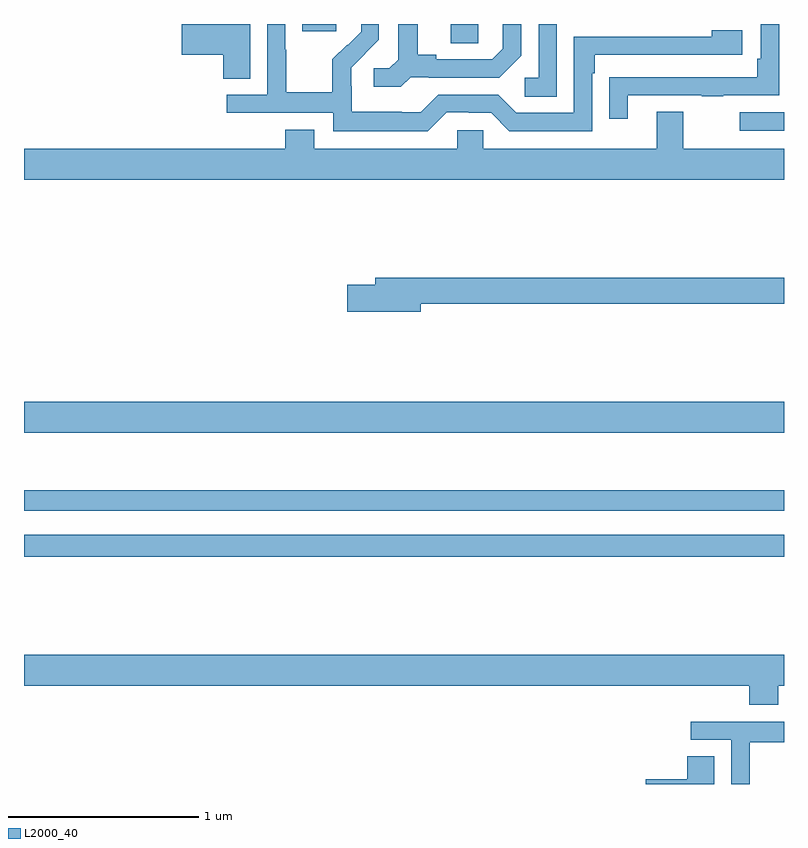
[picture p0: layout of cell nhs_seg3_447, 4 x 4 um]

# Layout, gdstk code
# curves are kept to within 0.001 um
import gdstk
lib = gdstk.Library(unit=1e-6, precision=1e-09)
def R(c, l, rs):  # rectangles x0, y0, x1, y1
    for r in rs: c.add(gdstk.rectangle(r[:2], r[2:], *l))
def P(c, l, *ps):  # polygons
    for p in ps: c.add(gdstk.Polygon(p, *l))
L2000_40 = (2000, 40)

nhs_seg3_447 = lib.new_cell('nhs_seg3_447')
R(nhs_seg3_447, L2000_40, [(133,701.596,137,701.712), (133,701.838,137,701.947), (133,702.248,137,702.412), (136.767,703.839,137,703.935), (135.245,704.299,135.39,704.4), (134.465,704.361,134.644,704.4)])
P(nhs_seg3_447, L2000_40, [(136.177,704.025),(136.567,704.025),(136.567,704.02),(136.679,704.02),(136.679,704.025),(136.974,704.025),(136.974,704.4),(136.878,704.4),(136.878,704.218),(136.858,704.218),(136.858,704.121),(136.183,704.121),(136.183,704.12),(136.081,704.12),(136.081,703.902),(136.177,703.902)],
  [(135.036,704.121),(135.13,704.121),(135.13,704.118),(135.502,704.118),(135.618,704.234),(135.618,704.4),(135.521,704.4),(135.521,704.271),(135.464,704.214),(135.169,704.214),(135.169,704.237),(135.073,704.237),(135.073,704.4),(134.969,704.4),(134.969,704.213),(134.922,704.166),(134.841,704.166),(134.841,704.069),(134.984,704.069)],
  [(134.191,704.4),(133.83,704.4),(133.83,704.237),(134.048,704.237),(134.048,704.113),(134.191,704.113)],
  [(135.225,703.935),(135.341,703.935),(135.341,703.932),(135.459,703.932),(135.555,703.836),(135.99,703.836),(135.99,704.141),(136.003,704.141),(136.003,704.238),(136.78,704.238),(136.78,704.368),(136.619,704.368),(136.619,704.334),(135.894,704.334),(135.894,703.932),(135.591,703.932),(135.495,704.028),(135.18,704.028),(135.087,703.935),(134.987,703.935),(134.987,703.939),(134.724,703.939),(134.724,704.073),(134.722,704.073),(134.722,704.17),(134.868,704.318),(134.868,704.4),(134.774,704.4),(134.774,704.36),(134.703,704.289),(134.7,704.292),(134.623,704.215),(134.623,704.041),(134.379,704.041),(134.379,704.264),(134.376,704.264),(134.376,704.4),(134.28,704.4),(134.28,704.028),(134.067,704.028),(134.067,703.932),(134.628,703.932),(134.628,703.835),(135.125,703.835)],
  [(135.804,704.4),(135.708,704.4),(135.708,704.118),(135.636,704.118),(135.636,704.017),(135.804,704.017)],
  [(137,703.744),(136.471,703.744),(136.471,703.939),(136.331,703.939),(136.331,703.744),(135.417,703.744),(135.417,703.842),(135.279,703.842),(135.279,703.744),(134.527,703.744),(134.527,703.843),(134.375,703.843),(134.375,703.744),(133,703.744),(133,703.58),(137,703.58)],
  [(135.088,702.928),(137,702.928),(137,703.064),(134.849,703.064),(134.849,703.028),(134.7,703.028),(134.7,702.886),(135.088,702.886)],
  [(136.969,700.916),(137,700.916),(137,701.08),(133,701.08),(133,700.916),(136.817,700.916),(136.817,700.817),(136.969,700.817)],
  [(136.821,700.62),(137,700.62),(137,700.728),(136.509,700.728),(136.509,700.632),(136.722,700.632),(136.722,700.4),(136.821,700.4)],
  [(136.633,700.547),(136.49,700.547),(136.49,700.424),(136.272,700.424),(136.272,700.4),(136.633,700.4)])

lib.write_gds('nhs_seg3_447.gds')
